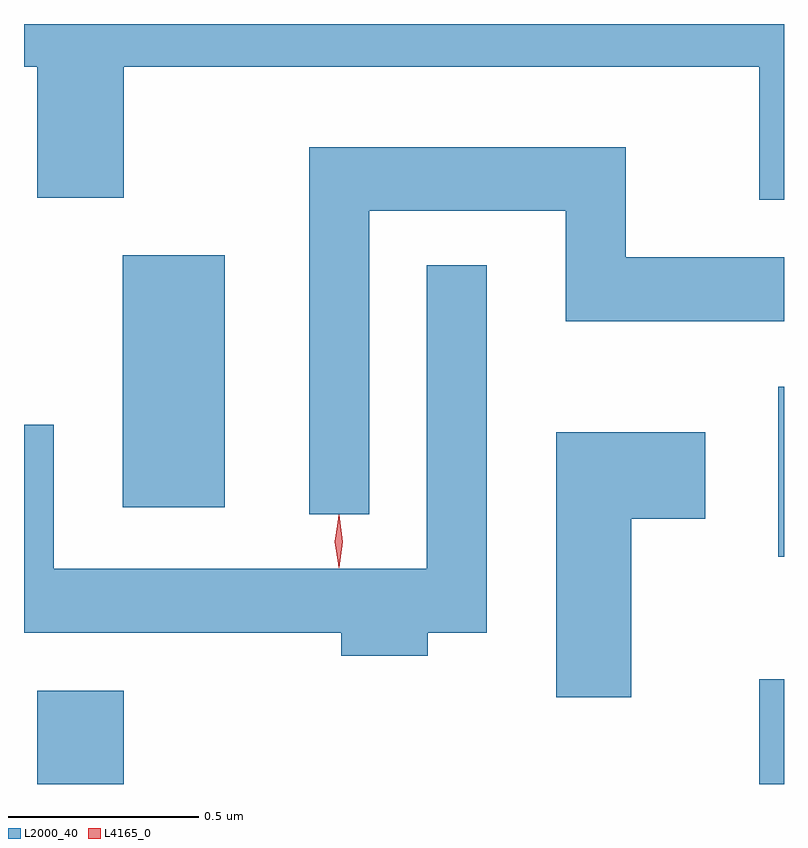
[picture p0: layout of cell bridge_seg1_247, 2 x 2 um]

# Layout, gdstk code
import gdstk
lib = gdstk.Library(unit=1e-6, precision=1e-09)
def R(c, l, rs):  # rectangles x0, y0, x1, y1
    for r in rs: c.add(gdstk.rectangle(r[:2], r[2:], *l))
def P(c, l, *ps):  # polygons
    for p in ps: c.add(gdstk.Polygon(p, *l))
L2000_40 = (2000, 40)
L4165_0 = (4165, 0)

bridge_seg1_247 = lib.new_cell('bridge_seg1_247')
R(bridge_seg1_247, L2000_40, [(829.981,873.268,830.209,873.514), (831.881,873.268,831.946,873.544), (831.931,873.866,831.946,874.314), (830.206,873.996,830.474,874.659)])
P(bridge_seg1_247, L2000_40, [(831.946,875.268),(829.946,875.268),(829.946,875.156),(829.981,875.156),(829.981,874.811),(830.209,874.811),(830.209,875.156),(831.881,875.156),(831.881,874.806),(831.946,874.806)],
  [(830.854,874.776),(831.371,874.776),(831.371,874.486),(831.946,874.486),(831.946,874.654),(831.529,874.654),(831.529,874.944),(830.696,874.944),(830.696,873.978),(830.854,873.978)],
  [(831.009,873.666),(831.164,873.666),(831.164,874.633),(831.006,874.633),(831.006,873.834),(830.024,873.834),(830.024,874.213),(829.946,874.213),(829.946,873.666),(830.781,873.666),(830.781,873.606),(831.009,873.606)],
  [(831.544,873.966),(831.739,873.966),(831.739,874.194),(831.346,874.194),(831.346,873.496),(831.544,873.496)])
P(bridge_seg1_247, L4165_0, [(830.774,873.837),(830.765,873.906),(830.774,873.976),(830.775,873.976),(830.775,873.976),(830.785,873.906),(830.775,873.837),(830.775,873.837)],
  [(830.774,873.839),(830.774,873.84),(830.764,873.906),(830.774,873.972),(830.774,873.973),(830.775,873.972),(830.784,873.906),(830.775,873.84)])

lib.write_gds('bridge_seg1_247.gds')
